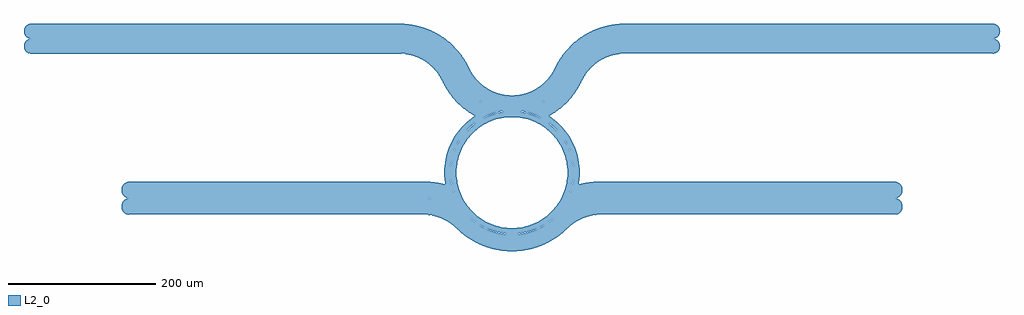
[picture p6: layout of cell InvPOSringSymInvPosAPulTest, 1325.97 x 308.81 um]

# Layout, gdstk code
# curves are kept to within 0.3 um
import gdstk
lib = gdstk.Library(unit=1e-6, precision=1e-09)
def P(c, l, *ps):  # polygons
    for p in ps: c.add(gdstk.Polygon(p, *l))
L2_0 = (2, 0)

invposringsyminvposapult = lib.new_cell('InvPOSringSymInvPosAPulTest')
P(invposringsyminvposapult, L2_0, [(100,-306.75),(88.885,-306.17),(78.532,-304.569),(67.761,-301.765),(57.34,-297.855),(47.383,-292.882),(38.532,-287.277),(30.771,-281.258),(19.725,-271.168),(11.926,-265.781),(6.538,-262.986),(0.543,-260.61),(-5.667,-258.871),(-12.024,-257.788),(-19.218,-257.368),(-419.507,-257.365),(-424.074,-256.264),(-427.687,-253.498),(-429.915,-249.499),(-430.345,-244.882),(-429.193,-241.069),(-426.749,-237.878),(-423.325,-235.745),(-419.507,-234.972),(-13.02,-235.196),(-4.306,-236.299),(4.247,-238.302),(12.545,-241.185),(20.497,-244.916),(26.725,-248.598),(32.615,-252.8),(44.905,-263.871),(51.431,-268.963),(58.875,-273.646),(66.767,-277.527),(75.02,-280.566),(83.544,-282.729),(92.247,-283.993),(101.035,-284.344),(109.297,-283.836),(117.976,-282.412),(125.967,-280.254),(134.182,-277.114),(141.576,-273.392),(148.992,-268.664),(155.095,-263.871),(167.385,-252.8),(179.048,-245.161),(186.977,-241.381),(194.762,-238.596),(202.782,-236.587),(211.475,-235.325),(219.218,-234.968),(620.504,-235.041),(624.437,-236.256),(627.687,-238.839),(629.739,-242.317),(630.415,-246.457),(629.538,-250.528),(627.326,-253.896),(623.827,-256.379),(619.795,-257.354),(219.218,-257.368),(210.894,-257.931),(199.098,-260.732),(188.074,-265.781),(180.275,-271.168),(169.726,-280.832),(162.002,-286.898),(152.617,-292.882),(143.26,-297.592),(132.863,-301.566),(122.109,-304.435),(111.115,-306.17)],
  [(100,-283.5),(91.816,-283.098),(83.71,-281.896),(75.761,-279.905),(68.046,-277.144),(60.638,-273.64),(53.61,-269.428),(47.028,-264.546),(40.957,-259.043),(35.454,-252.972),(30.572,-246.39),(26.36,-239.362),(22.856,-231.954),(20.095,-224.239),(18.104,-216.29),(16.902,-208.184),(16.5,-200),(16.902,-191.816),(18.104,-183.71),(20.095,-175.761),(22.856,-168.046),(26.36,-160.638),(30.572,-153.61),(35.454,-147.028),(40.957,-140.957),(47.028,-135.454),(53.61,-130.572),(60.638,-126.36),(68.046,-122.856),(75.761,-120.095),(83.71,-118.104),(91.816,-116.902),(100,-116.5),(108.184,-116.902),(116.29,-118.104),(124.239,-120.095),(131.954,-122.856),(139.362,-126.36),(146.39,-130.572),(152.972,-135.454),(159.043,-140.957),(164.546,-147.028),(169.428,-153.61),(173.64,-160.638),(177.144,-168.046),(179.905,-175.761),(181.896,-183.71),(183.098,-191.816),(183.5,-200),(175.5,-200),(174.683,-188.922),(173.237,-181.655),(171.087,-174.565),(168.251,-167.72),(164.759,-161.185),(158.362,-152.103),(153.387,-146.613),(144.975,-139.358),(138.815,-135.241),(128.893,-130.247),(118.345,-126.763),(107.4,-124.864),(96.295,-124.591),(85.271,-125.951),(74.565,-128.913),(64.41,-133.415),(55.025,-139.358),(46.613,-146.613),(41.638,-152.103),(35.241,-161.185),(30.247,-171.107),(27.751,-178.084),(25.317,-188.922),(24.591,-196.295),(24.591,-203.705),(25.951,-214.729),(28.913,-225.435),(31.749,-232.28),(35.241,-238.815),(41.638,-247.897),(46.613,-253.387),(55.025,-260.642),(61.185,-264.759),(71.107,-269.753),(78.084,-272.249),(88.922,-274.683),(96.295,-275.409),(103.705,-275.409),(111.078,-274.683),(121.916,-272.249),(128.893,-269.753),(138.815,-264.759),(147.897,-258.362),(153.387,-253.387),(158.362,-247.897),(162.776,-241.946),(168.251,-232.28),(172.249,-221.916),(174.683,-211.078),(175.5,-200),(183.5,-200),(183.098,-208.184),(181.896,-216.29),(179.905,-224.239),(177.144,-231.954),(173.64,-239.362),(169.428,-246.39),(164.546,-252.972),(159.043,-259.043),(152.972,-264.546),(146.39,-269.428),(139.362,-273.64),(131.954,-277.144),(124.239,-279.905),(116.29,-281.896),(108.184,-283.098)],
  [(100,-284.25),(91.228,-283.792),(82.551,-282.423),(74.064,-280.158),(65.858,-277.022),(58.024,-273.049),(51.066,-268.583),(44.97,-263.795),(32.677,-252.721),(21.454,-245.322),(13.539,-241.488),(5.762,-238.652),(-2.255,-236.591),(-10.436,-235.327),(-19.218,-234.868),(-419.507,-234.865),(-422.417,-234.405),(-425.141,-233.176),(-427.418,-231.298),(-429.13,-228.887),(-430.131,-226.198),(-430.415,-223.379),(-429.993,-220.602),(-428.934,-218.093),(-427.232,-215.844),(-425.026,-214.09),(-422.417,-212.932),(-419.651,-212.476),(-18.563,-212.47),(-4.203,-213.529),(9.5,-216.404),(8.111,-204.514),(8.443,-190.982),(10.757,-177.646),(15.003,-164.793),(21.089,-152.703),(28.883,-141.636),(38.217,-131.832),(49.767,-122.948),(42.244,-118.409),(34.751,-112.954),(27.771,-106.858),(21.358,-100.168),(16.112,-93.682),(11.4,-86.799),(0.468,-66.98),(-7.035,-57.702),(-11.617,-53.442),(-17.063,-49.328),(-22.914,-45.816),(-28.578,-43.158),(-39.988,-39.667),(-46.17,-38.701),(-52.416,-38.34),(-552.985,-38.338),(-552.985,-18.338),(-52.985,-18.338),(-40.346,-19.292),(-28.708,-21.914),(-17.556,-26.154),(-6.493,-32.337),(2.962,-39.613),(9.826,-46.462),(16.283,-54.667),(20.614,-61.637),(27.555,-74.891),(33.986,-84.108),(42.675,-93.418),(52.044,-100.895),(63.049,-107.304),(74.891,-111.988),(87.301,-114.842),(100,-115.8),(112.699,-114.842),(125.109,-111.988),(136.951,-107.304),(147.956,-100.895),(157.325,-93.418),(166.014,-84.108),(172.445,-74.891),(179.386,-61.637),(183.717,-54.667),(190.174,-46.462),(197.038,-39.613),(206.493,-32.337),(217.556,-26.154),(228.708,-21.914),(240.346,-19.292),(252.985,-18.338),(752.985,-18.338),(752.985,-38.338),(252.416,-38.34),(246.17,-38.701),(239.988,-39.667),(228.578,-43.158),(222.914,-45.816),(217.063,-49.328),(211.617,-53.442),(207.035,-57.702),(199.532,-66.98),(188.6,-86.799),(183.888,-93.682),(178.642,-100.168),(172.229,-106.858),(165.249,-112.954),(157.756,-118.409),(150.233,-122.948),(158.364,-128.883),(168.168,-138.217),(173.895,-145.196),(181.137,-156.632),(184.997,-164.793),(189.243,-177.646),(191.557,-190.982),(192,-200),(184,-200),(183.091,-187.675),(181.483,-179.59),(179.09,-171.701),(175.935,-164.085),(172.049,-156.815),(164.933,-146.711),(156.411,-137.76),(146.668,-130.157),(135.915,-124.065),(124.384,-119.617),(116.388,-117.614),(108.233,-116.404),(95.878,-116.101),(83.612,-117.614),(71.701,-120.91),(60.403,-125.919),(49.961,-132.531),(40.603,-140.603),(32.531,-149.961),(27.951,-156.815),(24.065,-164.085),(20.91,-171.701),(17.614,-183.612),(16.404,-191.767),(16.101,-204.122),(16.909,-212.325),(18.517,-220.41),(20.91,-228.299),(24.065,-235.915),(27.951,-243.185),(35.067,-253.289),(40.603,-259.397),(46.711,-264.933),(56.815,-272.049),(64.085,-275.935),(71.701,-279.09),(83.612,-282.386),(91.767,-283.596),(104.122,-283.899),(116.388,-282.386),(124.384,-280.383),(135.915,-275.935),(143.185,-272.049),(153.289,-264.933),(159.397,-259.397),(164.933,-253.289),(172.049,-243.185),(177.606,-232.145),(181.483,-220.41),(183.596,-208.233),(184,-200),(192,-200),(191.557,-209.018),(190.5,-216.404),(204.203,-213.529),(218.563,-212.47),(619.651,-212.476),(622.417,-212.932),(625.026,-214.09),(627.232,-215.844),(628.934,-218.093),(629.993,-220.602),(630.415,-223.379),(630.131,-226.198),(629.13,-228.887),(627.418,-231.298),(625.141,-233.176),(622.417,-234.405),(619.507,-234.865),(219.218,-234.868),(210.436,-235.327),(202.255,-236.591),(194.238,-238.652),(186.461,-241.488),(178.546,-245.322),(167.323,-252.721),(155.03,-263.795),(148.934,-268.583),(141.976,-273.049),(134.142,-277.022),(125.936,-280.158),(117.449,-282.423),(108.772,-283.792)],
  [(100,-115.4),(87.361,-114.446),(75.009,-111.606),(63.223,-106.944),(51.658,-100.14),(42.4,-92.615),(33.834,-83.274),(27.515,-74.043),(20.963,-61.442),(16.612,-54.44),(10.621,-46.757),(3.786,-39.815),(-5.648,-32.421),(-16.033,-26.434),(-26.447,-22.208),(-38.067,-19.264),(-45.496,-18.27),(-52.985,-17.938),(-552.985,-17.938),(-552.985,2.062),(-52.985,2.062),(-37.284,0.877),(-22.826,-2.38),(-9.816,-7.262),(3.217,-14.319),(14.415,-22.547),(23.164,-30.826),(31.454,-40.802),(37.53,-50.114),(45.024,-64.355),(49.904,-71.35),(56.081,-78.027),(63.141,-83.764),(71.448,-88.702),(80.403,-92.336),(90.363,-94.673),(100,-95.4),(109.637,-94.673),(119.597,-92.336),(128.552,-88.702),(136.859,-83.764),(143.919,-78.027),(150.096,-71.35),(154.976,-64.355),(162.47,-50.114),(168.546,-40.802),(176.836,-30.826),(185.585,-22.547),(196.783,-14.319),(209.816,-7.262),(222.826,-2.38),(237.284,0.877),(252.985,2.062),(752.985,2.062),(752.985,-17.938),(252.985,-17.938),(245.496,-18.27),(238.067,-19.264),(226.447,-22.208),(216.033,-26.434),(205.648,-32.421),(196.214,-39.815),(189.379,-46.757),(183.388,-54.44),(179.037,-61.442),(172.485,-74.043),(166.166,-83.274),(157.6,-92.615),(148.342,-100.14),(136.777,-106.944),(124.991,-111.606),(112.639,-114.446)],
  [(-552.985,-38.338),(-556.877,-37.552),(-560.056,-35.409),(-562.199,-32.23),(-562.985,-28.338),(-562.199,-24.446),(-560.056,-21.267),(-556.877,-19.124),(-552.985,-18.338)],
  [(752.985,-38.338),(752.985,-18.338),(756.877,-19.124),(760.056,-21.267),(762.199,-24.446),(762.985,-28.338),(762.199,-32.23),(760.056,-35.409),(756.877,-37.552)],
  [(-552.985,-17.938),(-556.877,-17.152),(-560.056,-15.009),(-562.199,-11.83),(-562.985,-7.938),(-562.199,-4.046),(-560.056,-0.867),(-556.877,1.276),(-552.985,2.062)],
  [(752.985,-17.938),(752.985,2.062),(756.877,1.276),(760.056,-0.867),(762.199,-4.046),(762.985,-7.938),(762.199,-11.83),(760.056,-15.009),(756.877,-17.152)])

lib.write_gds('InvPOSringSymInvPosAPulTest.gds')
